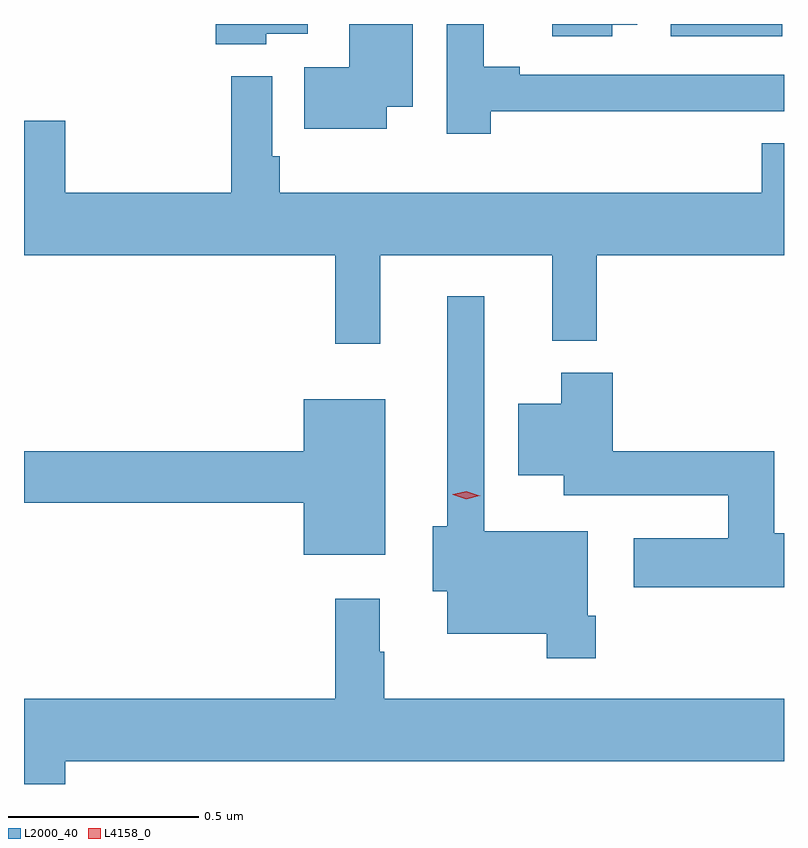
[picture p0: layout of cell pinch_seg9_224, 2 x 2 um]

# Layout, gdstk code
import gdstk
lib = gdstk.Library(unit=1e-6, precision=1e-09)
def R(c, l, rs):  # rectangles x0, y0, x1, y1
    for r in rs: c.add(gdstk.rectangle(r[:2], r[2:], *l))
def P(c, l, *ps):  # polygons
    for p in ps: c.add(gdstk.Polygon(p, *l))
L2000_40 = (2000, 40)
L4158_0 = (4158, 0)

pinch_seg9_224 = lib.new_cell('pinch_seg9_224')
R(pinch_seg9_224, L2000_40, [(610.322,1208.984,610.615,1209.016)])
P(pinch_seg9_224, L2000_40, [(609.574,1208.798),(609.643,1208.798),(609.643,1209.016),(609.476,1209.016),(609.476,1208.902),(609.358,1208.902),(609.358,1208.741),(609.574,1208.741)],
  [(609.258,1208.99),(609.367,1208.99),(609.367,1209.016),(609.125,1209.016),(609.125,1208.963),(609.258,1208.963)],
  [(609.848,1208.786),(610.478,1208.786),(610.478,1208.787),(610.62,1208.787),(610.62,1208.883),(609.925,1208.883),(609.925,1208.903),(609.83,1208.903),(609.83,1209.016),(609.732,1209.016),(609.732,1208.727),(609.848,1208.727)],
  [(610.168,1209.014),(610.234,1209.014),(610.234,1209.016),(610.01,1209.016),(610.01,1208.984),(610.168,1208.984)],
  [(609.557,1208.408),(610.01,1208.408),(610.01,1208.183),(610.127,1208.183),(610.127,1208.408),(610.62,1208.408),(610.62,1208.702),(610.562,1208.702),(610.562,1208.572),(609.293,1208.572),(609.293,1208.668),(609.273,1208.668),(609.273,1208.878),(609.165,1208.878),(609.165,1208.572),(608.728,1208.572),(608.728,1208.761),(608.62,1208.761),(608.62,1208.408),(609.439,1208.408),(609.439,1208.175),(609.557,1208.175)],
  [(610.124,1207.459),(610.104,1207.459),(610.104,1207.681),(609.831,1207.681),(609.831,1208.299),(609.734,1208.299),(609.734,1207.694),(609.695,1207.694),(609.695,1207.523),(609.734,1207.523),(609.734,1207.412),(609.996,1207.412),(609.996,1207.347),(610.124,1207.347)],
  [(610.62,1207.676),(610.594,1207.676),(610.594,1207.892),(610.169,1207.892),(610.169,1208.098),(610.034,1208.098),(610.034,1208.017),(609.92,1208.017),(609.92,1207.829),(610.04,1207.829),(610.04,1207.776),(610.473,1207.776),(610.473,1207.663),(610.224,1207.663),(610.224,1207.534),(610.62,1207.534)],
  [(609.571,1208.029),(609.356,1208.029),(609.356,1207.892),(608.62,1207.892),(608.62,1207.756),(609.356,1207.756),(609.356,1207.619),(609.571,1207.619)],
  [(608.728,1207.076),(610.62,1207.076),(610.62,1207.24),(609.568,1207.24),(609.568,1207.364),(609.556,1207.364),(609.556,1207.504),(609.439,1207.504),(609.439,1207.24),(608.62,1207.24),(608.62,1207.016),(608.728,1207.016)])
P(pinch_seg9_224, L4158_0, [(609.784,1207.766),(609.748,1207.777),(609.748,1207.778),(609.748,1207.778),(609.784,1207.786),(609.819,1207.775),(609.82,1207.775),(609.819,1207.775)])

lib.write_gds('pinch_seg9_224.gds')
